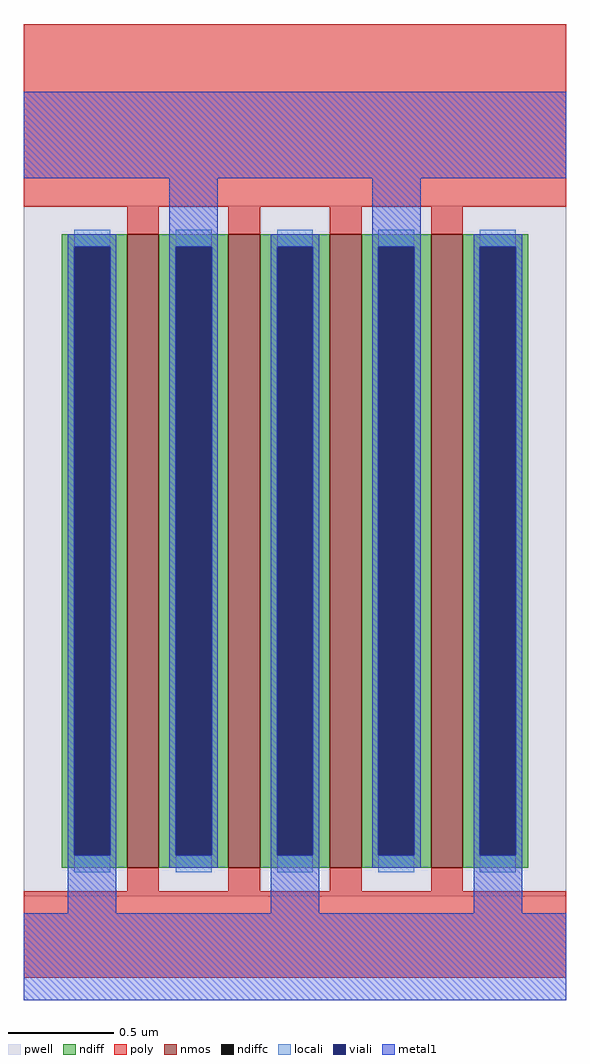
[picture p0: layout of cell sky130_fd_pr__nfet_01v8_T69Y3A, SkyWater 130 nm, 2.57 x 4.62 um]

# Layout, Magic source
magic
tech sky130A
magscale 1 2
<< pwell >>
rect -257 -327 257 327
<< nmos >>
rect -159 -300 -129 300
rect -63 -300 -33 300
rect 33 -300 63 300
rect 129 -300 159 300
<< ndiff >>
rect -221 288 -159 300
rect -221 -288 -209 288
rect -175 -288 -159 288
rect -221 -300 -159 -288
rect -129 288 -63 300
rect -129 -288 -113 288
rect -79 -288 -63 288
rect -129 -300 -63 -288
rect -33 288 33 300
rect -33 -288 -17 288
rect 17 -288 33 288
rect -33 -300 33 -288
rect 63 288 129 300
rect 63 -288 79 288
rect 113 -288 129 288
rect 63 -300 129 -288
rect 159 288 221 300
rect 159 -288 175 288
rect 209 -288 221 288
rect 159 -300 221 -288
<< ndiffc >>
rect -209 -288 -175 288
rect -113 -288 -79 288
rect -17 -288 17 288
rect 79 -288 113 288
rect 175 -288 209 288
<< poly >>
rect -257 326 257 499
rect -159 300 -129 326
rect -63 300 -33 326
rect 33 300 63 326
rect 129 300 159 326
rect -159 -322 -129 -300
rect -63 -322 -33 -300
rect 33 -322 63 -300
rect 129 -322 159 -300
rect -257 -404 257 -322
<< locali >>
rect -209 288 -175 304
rect -209 -304 -175 -288
rect -113 288 -79 304
rect -113 -304 -79 -288
rect -17 288 17 304
rect -17 -304 17 -288
rect 79 288 113 304
rect 79 -304 113 -288
rect 175 288 209 304
rect 175 -304 209 -288
<< viali >>
rect -209 -288 -175 288
rect -113 -288 -79 288
rect -17 -288 17 288
rect 79 -288 113 288
rect 175 -288 209 288
<< metal1 >>
rect -257 353 257 435
rect -215 288 -169 300
rect -215 -288 -209 288
rect -175 -288 -169 288
rect -215 -343 -169 -288
rect -119 288 -73 353
rect -119 -288 -113 288
rect -79 -288 -73 288
rect -119 -300 -73 -288
rect -23 288 23 300
rect -23 -288 -17 288
rect 17 -288 23 288
rect -23 -343 23 -288
rect 73 288 119 353
rect 73 -288 79 288
rect 113 -288 119 288
rect 73 -300 119 -288
rect 169 288 215 300
rect 169 -288 175 288
rect 209 -288 215 288
rect 169 -343 215 -288
rect -257 -425 257 -343
<< properties >>
string gencell sky130_fd_pr__nfet_01v8
string FIXED_BBOX -306 -457 306 457
string parameters w 3 l 0.150 m 1 nf 4 diffcov 100 polycov 100 guard 1 glc 1 grc 1 gtc 1 gbc 1 tbcov 100 rlcov 100 topc 0 botc 0 poverlap 0 doverlap 1 lmin 0.15 wmin 0.42 compatible {sky130_fd_pr__nfet_01v8 sky130_fd_pr__nfet_01v8_lvt  sky130_fd_bs_flash__special_sonosfet_star  sky130_fd_pr__nfet_g5v0d10v5 sky130_fd_pr__nfet_05v0_nvt  sky130_fd_pr__nfet_03v3_nvt} full_metal 1 viasrc 100 viadrn 100 viagate 100 viagb 0 viagr 0 viagl 0 viagt 0
string library sky130
<< end >>
